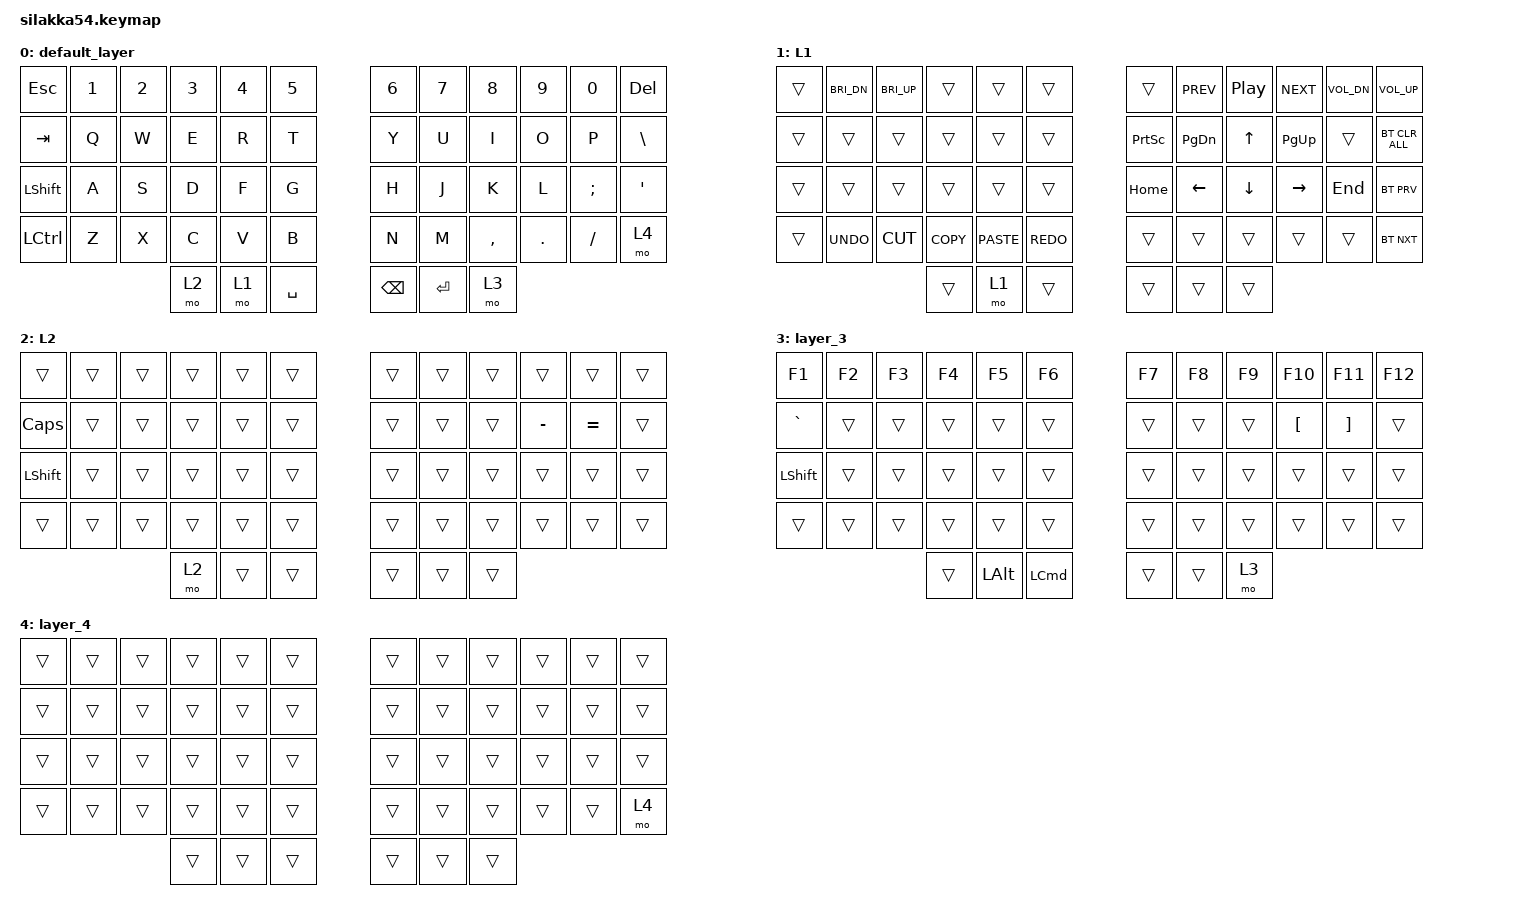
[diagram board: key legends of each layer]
#include <behaviors.dtsi>
#include <dt-bindings/zmk/keys.h>
#include <dt-bindings/zmk/bt.h>

/ {
    keymap {
        compatible = "zmk,keymap";

        default_layer {
            bindings = <
&kp ESC    &kp NUMBER_1  &kp NUMBER_2  &kp NUMBER_3  &kp NUMBER_4  &kp NUMBER_5    &kp NUMBER_6   &kp NUMBER_7  &kp NUMBER_8  &kp NUMBER_9  &kp NUMBER_0   &kp DELETE
&kp TAB    &kp Q         &kp W         &kp E         &kp R         &kp T           &kp Y          &kp U         &kp I         &kp O         &kp P          &kp BACKSLASH
&kp LSHFT  &kp A         &kp S         &kp D         &kp F         &kp G           &kp H          &kp J         &kp K         &kp L         &kp SEMICOLON  &kp SINGLE_QUOTE
&kp LCTRL  &kp Z         &kp X         &kp C         &kp V         &kp B           &kp N          &kp M         &kp COMMA     &kp PERIOD    &kp SLASH      &mo 4
                                       &mo 2         &mo 1         &kp SPACE       &kp BACKSPACE  &kp ENTER     &mo 3
            >;
        };

        L1 {
            bindings = <
&trans  &kp C_BRI_DN  &kp C_BRI_UP  &trans      &trans       &trans        &trans           &kp C_PREV      &kp C_PLAY_PAUSE  &kp C_NEXT   &kp C_VOL_DN  &kp C_VOLUME_UP
&trans  &trans        &trans        &trans      &trans       &trans        &kp PRINTSCREEN  &kp PAGE_DOWN   &kp UP_ARROW      &kp PAGE_UP  &trans        &bt BT_CLR_ALL
&trans  &trans        &trans        &trans      &trans       &trans        &kp HOME         &kp LEFT_ARROW  &kp DOWN_ARROW    &kp RIGHT    &kp END       &bt BT_PRV
&trans  &kp K_UNDO    &kp K_CUT     &kp K_COPY  &kp K_PASTE  &kp K_REDO    &trans           &trans          &trans            &trans       &trans        &bt BT_NXT
                                    &trans      &mo 1        &trans        &trans           &trans          &trans
            >;
        };

        L2 {
            bindings = <
&trans          &trans  &trans  &trans  &trans  &trans    &trans  &trans  &trans  &trans     &trans     &trans
&kp CAPSLOCK    &trans  &trans  &trans  &trans  &trans    &trans  &trans  &trans  &kp MINUS  &kp EQUAL  &trans
&kp LEFT_SHIFT  &trans  &trans  &trans  &trans  &trans    &trans  &trans  &trans  &trans     &trans     &trans
&trans          &trans  &trans  &trans  &trans  &trans    &trans  &trans  &trans  &trans     &trans     &trans
                                &mo 2   &trans  &trans    &trans  &trans  &trans
            >;
        };

        layer_3 {
            bindings = <
&kp F1          &kp F2  &kp F3  &kp F4  &kp F5        &kp F6              &kp F7  &kp F8  &kp F9  &kp F10           &kp F11            &kp F12
&kp GRAVE       &trans  &trans  &trans  &trans        &trans              &trans  &trans  &trans  &kp LEFT_BRACKET  &kp RIGHT_BRACKET  &trans
&kp LEFT_SHIFT  &trans  &trans  &trans  &trans        &trans              &trans  &trans  &trans  &trans            &trans             &trans
&trans          &trans  &trans  &trans  &trans        &trans              &trans  &trans  &trans  &trans            &trans             &trans
                                &trans  &kp LEFT_ALT  &kp LEFT_COMMAND    &trans  &trans  &mo 3
            >;
        };

        layer_4 {
            bindings = <
&trans  &trans  &trans  &trans  &trans  &trans    &trans  &trans  &trans  &trans  &trans  &trans
&trans  &trans  &trans  &trans  &trans  &trans    &trans  &trans  &trans  &trans  &trans  &trans
&trans  &trans  &trans  &trans  &trans  &trans    &trans  &trans  &trans  &trans  &trans  &trans
&trans  &trans  &trans  &trans  &trans  &trans    &trans  &trans  &trans  &trans  &trans  &mo 4
                        &trans  &trans  &trans    &trans  &trans  &trans
            >;
        };
    };
};
